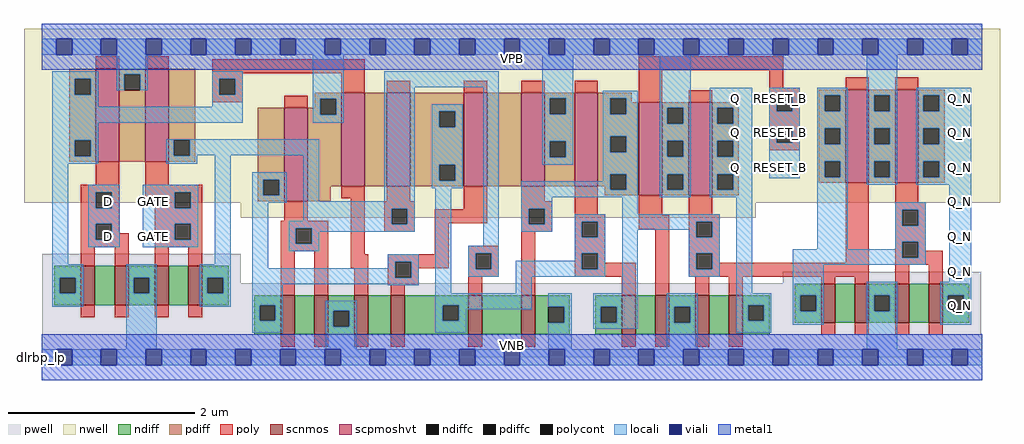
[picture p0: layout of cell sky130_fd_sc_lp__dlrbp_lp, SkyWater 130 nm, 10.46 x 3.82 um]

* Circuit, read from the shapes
.subckt sky130_fd_sc_lp__dlrbp_lp D GATE RESET_B VGND VNB VPB VPWR Q Q_N
XM1 n1 D n2 VNB sky130_fd_pr__nfet_01v8 w=0.42 l=0.15
XM2 VGND D n1 VNB sky130_fd_pr__nfet_01v8 w=0.42 l=0.15
XM3 n3 GATE VGND VNB sky130_fd_pr__nfet_01v8 w=0.42 l=0.15
XM4 n4 GATE n3 VNB sky130_fd_pr__nfet_01v8 w=0.42 l=0.15
XM5 n5 n4 n6 VNB sky130_fd_pr__nfet_01v8 w=0.42 l=0.15
XM6 VGND n4 n5 VNB sky130_fd_pr__nfet_01v8 w=0.42 l=0.15
XM7 n7 n2 VGND VNB sky130_fd_pr__nfet_01v8 w=0.42 l=0.15
XM8 n8 n6 n7 VNB sky130_fd_pr__nfet_01v8 w=0.42 l=0.15
XM9 n9 n4 n8 VNB sky130_fd_pr__nfet_01v8 w=0.42 l=0.15
XM10 VGND n10 n9 VNB sky130_fd_pr__nfet_01v8 w=0.42 l=0.15
XM11 n11 n8 n10 VNB sky130_fd_pr__nfet_01v8 w=0.42 l=0.15
XM12 VGND RESET_B n11 VNB sky130_fd_pr__nfet_01v8 w=0.42 l=0.15
XM13 n12 n10 VGND VNB sky130_fd_pr__nfet_01v8 w=0.42 l=0.15
XM14 Q n10 n12 VNB sky130_fd_pr__nfet_01v8 w=0.42 l=0.15
XM15 n13 n10 n14 VNB sky130_fd_pr__nfet_01v8 w=0.42 l=0.15
XM16 VGND n10 n13 VNB sky130_fd_pr__nfet_01v8 w=0.42 l=0.15
XM17 n15 n14 VGND VNB sky130_fd_pr__nfet_01v8 w=0.42 l=0.15
XM18 Q_N n14 n15 VNB sky130_fd_pr__nfet_01v8 w=0.42 l=0.15
XM19 VPWR D n2 VPB sky130_fd_pr__pfet_01v8_hvt w=1 l=0.25
XM20 n4 GATE VPWR VPB sky130_fd_pr__pfet_01v8_hvt w=1 l=0.25
XM21 VPWR n4 n6 VPB sky130_fd_pr__pfet_01v8_hvt w=1 l=0.25
XM22 n16 n2 VPWR VPB sky130_fd_pr__pfet_01v8_hvt w=1 l=0.25
XM23 n8 n4 n16 VPB sky130_fd_pr__pfet_01v8_hvt w=1 l=0.25
XM24 n17 n6 n8 VPB sky130_fd_pr__pfet_01v8_hvt w=1 l=0.25
XM25 VPWR n10 n17 VPB sky130_fd_pr__pfet_01v8_hvt w=1 l=0.25
XM26 n10 n8 VPWR VPB sky130_fd_pr__pfet_01v8_hvt w=1 l=0.25
XM27 VPWR RESET_B n10 VPB sky130_fd_pr__pfet_01v8_hvt w=1 l=0.25
XM28 Q n10 VPWR VPB sky130_fd_pr__pfet_01v8_hvt w=1 l=0.25
XM29 VPWR n10 n14 VPB sky130_fd_pr__pfet_01v8_hvt w=1 l=0.25
XM30 Q_N n14 VPWR VPB sky130_fd_pr__pfet_01v8_hvt w=1 l=0.25
.ends

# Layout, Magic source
magic
tech sky130A
magscale 1 2
<< nwell >>
rect -38 331 2054 704
rect 427 299 1530 331
<< pwell >>
rect 1 159 427 222
rect 1588 159 2014 184
rect 1 49 2014 159
rect 0 0 2016 49
<< scnmos >>
rect 84 112 114 196
rect 156 112 186 196
rect 242 112 272 196
rect 314 112 344 196
rect 512 49 542 133
rect 584 49 614 133
rect 670 49 700 133
rect 748 49 778 133
rect 914 49 944 133
rect 1028 49 1058 133
rect 1243 49 1273 133
rect 1315 49 1345 133
rect 1401 49 1431 133
rect 1473 49 1503 133
rect 1671 74 1701 158
rect 1743 74 1773 158
rect 1829 74 1859 158
rect 1901 74 1931 158
<< scpmoshvt >>
rect 116 419 166 619
rect 222 419 272 619
rect 520 335 570 535
rect 642 367 692 567
rect 740 367 790 567
rect 905 367 955 567
rect 1028 367 1078 567
rect 1142 367 1192 567
rect 1280 347 1330 547
rect 1387 347 1437 547
rect 1723 374 1773 574
rect 1829 374 1879 574
<< ndiff >>
rect 27 171 84 196
rect 27 137 39 171
rect 73 137 84 171
rect 27 112 84 137
rect 114 112 156 196
rect 186 171 242 196
rect 186 137 197 171
rect 231 137 242 171
rect 186 112 242 137
rect 272 112 314 196
rect 344 171 401 196
rect 344 137 355 171
rect 389 137 401 171
rect 344 112 401 137
rect 1614 133 1671 158
rect 455 112 512 133
rect 455 78 467 112
rect 501 78 512 112
rect 455 49 512 78
rect 542 49 584 133
rect 614 100 670 133
rect 614 66 625 100
rect 659 66 670 100
rect 614 49 670 66
rect 700 49 748 133
rect 778 112 914 133
rect 778 78 860 112
rect 894 78 914 112
rect 778 49 914 78
rect 944 49 1028 133
rect 1058 108 1132 133
rect 1058 74 1086 108
rect 1120 74 1132 108
rect 1058 49 1132 74
rect 1186 108 1243 133
rect 1186 74 1198 108
rect 1232 74 1243 108
rect 1186 49 1243 74
rect 1273 49 1315 133
rect 1345 108 1401 133
rect 1345 74 1356 108
rect 1390 74 1401 108
rect 1345 49 1401 74
rect 1431 49 1473 133
rect 1503 112 1560 133
rect 1503 78 1514 112
rect 1548 78 1560 112
rect 1503 49 1560 78
rect 1614 99 1626 133
rect 1660 99 1671 133
rect 1614 74 1671 99
rect 1701 74 1743 158
rect 1773 133 1829 158
rect 1773 99 1784 133
rect 1818 99 1829 133
rect 1773 74 1829 99
rect 1859 74 1901 158
rect 1931 133 1988 158
rect 1931 99 1942 133
rect 1976 99 1988 133
rect 1931 74 1988 99
<< pdiff >>
rect 59 597 116 619
rect 59 563 71 597
rect 105 563 116 597
rect 59 465 116 563
rect 59 431 71 465
rect 105 431 116 465
rect 59 419 116 431
rect 166 607 222 619
rect 166 573 177 607
rect 211 573 222 607
rect 166 419 222 573
rect 272 466 329 619
rect 585 554 642 567
rect 585 535 597 554
rect 272 432 283 466
rect 317 432 329 466
rect 272 419 329 432
rect 463 381 520 535
rect 463 347 475 381
rect 509 347 520 381
rect 463 335 520 347
rect 570 520 597 535
rect 631 520 642 554
rect 570 367 642 520
rect 692 367 740 567
rect 790 527 905 567
rect 790 493 852 527
rect 886 493 905 527
rect 790 413 905 493
rect 790 379 852 413
rect 886 379 905 413
rect 790 367 905 379
rect 955 367 1028 567
rect 1078 555 1142 567
rect 1078 521 1089 555
rect 1123 521 1142 555
rect 1078 463 1142 521
rect 1078 429 1089 463
rect 1123 429 1142 463
rect 1078 367 1142 429
rect 1192 555 1265 567
rect 1192 521 1219 555
rect 1253 547 1265 555
rect 1253 521 1280 547
rect 1192 474 1280 521
rect 1192 440 1219 474
rect 1253 440 1280 474
rect 1192 393 1280 440
rect 1192 367 1219 393
rect 570 335 620 367
rect 1207 359 1219 367
rect 1253 359 1280 393
rect 1207 347 1280 359
rect 1330 535 1387 547
rect 1330 501 1341 535
rect 1375 501 1387 535
rect 1330 464 1387 501
rect 1330 430 1341 464
rect 1375 430 1387 464
rect 1330 393 1387 430
rect 1330 359 1341 393
rect 1375 359 1387 393
rect 1330 347 1387 359
rect 1437 535 1494 547
rect 1437 501 1448 535
rect 1482 501 1494 535
rect 1437 464 1494 501
rect 1437 430 1448 464
rect 1482 430 1494 464
rect 1666 562 1723 574
rect 1666 528 1678 562
rect 1712 528 1723 562
rect 1666 491 1723 528
rect 1666 457 1678 491
rect 1712 457 1723 491
rect 1437 393 1494 430
rect 1437 359 1448 393
rect 1482 359 1494 393
rect 1666 420 1723 457
rect 1666 386 1678 420
rect 1712 386 1723 420
rect 1666 374 1723 386
rect 1773 562 1829 574
rect 1773 528 1784 562
rect 1818 528 1829 562
rect 1773 491 1829 528
rect 1773 457 1784 491
rect 1818 457 1829 491
rect 1773 420 1829 457
rect 1773 386 1784 420
rect 1818 386 1829 420
rect 1773 374 1829 386
rect 1879 562 1936 574
rect 1879 528 1890 562
rect 1924 528 1936 562
rect 1879 491 1936 528
rect 1879 457 1890 491
rect 1924 457 1936 491
rect 1879 420 1936 457
rect 1879 386 1890 420
rect 1924 386 1936 420
rect 1879 374 1936 386
rect 1437 347 1494 359
<< ndiffc >>
rect 39 137 73 171
rect 197 137 231 171
rect 355 137 389 171
rect 467 78 501 112
rect 625 66 659 100
rect 860 78 894 112
rect 1086 74 1120 108
rect 1198 74 1232 108
rect 1356 74 1390 108
rect 1514 78 1548 112
rect 1626 99 1660 133
rect 1784 99 1818 133
rect 1942 99 1976 133
<< pdiffc >>
rect 71 563 105 597
rect 71 431 105 465
rect 177 573 211 607
rect 283 432 317 466
rect 475 347 509 381
rect 597 520 631 554
rect 852 493 886 527
rect 852 379 886 413
rect 1089 521 1123 555
rect 1089 429 1123 463
rect 1219 521 1253 555
rect 1219 440 1253 474
rect 1219 359 1253 393
rect 1341 501 1375 535
rect 1341 430 1375 464
rect 1341 359 1375 393
rect 1448 501 1482 535
rect 1448 430 1482 464
rect 1678 528 1712 562
rect 1678 457 1712 491
rect 1448 359 1482 393
rect 1678 386 1712 420
rect 1784 528 1818 562
rect 1784 457 1818 491
rect 1784 386 1818 420
rect 1890 528 1924 562
rect 1890 457 1924 491
rect 1890 386 1924 420
<< poly >>
rect 116 619 166 645
rect 222 619 272 645
rect 365 609 692 639
rect 365 597 431 609
rect 365 563 381 597
rect 415 563 431 597
rect 642 567 692 609
rect 1280 615 1589 645
rect 740 567 790 593
rect 905 567 955 593
rect 1028 567 1078 593
rect 1142 567 1192 593
rect 365 547 431 563
rect 520 535 570 561
rect 116 370 166 419
rect 84 354 166 370
rect 84 320 116 354
rect 150 320 166 354
rect 222 370 272 419
rect 222 354 344 370
rect 222 340 285 354
rect 84 286 166 320
rect 84 252 116 286
rect 150 266 166 286
rect 242 320 285 340
rect 319 320 344 354
rect 1280 547 1330 615
rect 1559 578 1589 615
rect 1387 547 1437 573
rect 1559 562 1625 578
rect 1723 574 1773 600
rect 1829 574 1879 600
rect 642 341 692 367
rect 242 286 344 320
rect 520 293 570 335
rect 150 252 186 266
rect 84 236 186 252
rect 84 196 114 236
rect 156 196 186 236
rect 242 252 285 286
rect 319 252 344 286
rect 242 236 344 252
rect 242 196 272 236
rect 314 196 344 236
rect 512 277 614 293
rect 512 243 545 277
rect 579 243 614 277
rect 512 227 614 243
rect 512 133 542 227
rect 584 133 614 227
rect 662 221 692 341
rect 740 335 790 367
rect 734 319 800 335
rect 734 285 750 319
rect 784 285 800 319
rect 905 317 955 367
rect 734 269 800 285
rect 842 287 955 317
rect 1028 335 1078 367
rect 1028 319 1094 335
rect 842 221 872 287
rect 1028 285 1044 319
rect 1078 285 1094 319
rect 1028 269 1094 285
rect 1142 307 1192 367
rect 1559 528 1575 562
rect 1609 528 1625 562
rect 1559 494 1625 528
rect 1559 460 1575 494
rect 1609 460 1625 494
rect 1559 444 1625 460
rect 1142 291 1208 307
rect 662 191 700 221
rect 670 133 700 191
rect 742 205 872 221
rect 742 171 758 205
rect 792 191 872 205
rect 914 223 980 239
rect 792 171 808 191
rect 742 155 808 171
rect 914 189 930 223
rect 964 189 980 223
rect 914 173 980 189
rect 748 133 778 155
rect 914 133 944 173
rect 1028 133 1058 269
rect 1142 257 1158 291
rect 1192 257 1208 291
rect 1280 305 1330 347
rect 1387 307 1437 347
rect 1280 275 1345 305
rect 1142 223 1208 257
rect 1142 189 1158 223
rect 1192 203 1208 223
rect 1192 189 1273 203
rect 1142 173 1273 189
rect 1243 133 1273 173
rect 1315 133 1345 275
rect 1387 291 1453 307
rect 1387 257 1403 291
rect 1437 257 1453 291
rect 1387 223 1453 257
rect 1387 189 1403 223
rect 1437 203 1453 223
rect 1723 203 1773 374
rect 1437 189 1773 203
rect 1387 173 1773 189
rect 1401 133 1431 173
rect 1473 133 1503 173
rect 1671 158 1701 173
rect 1743 158 1773 173
rect 1829 332 1879 374
rect 1829 316 1895 332
rect 1829 282 1845 316
rect 1879 282 1895 316
rect 1829 248 1895 282
rect 1829 214 1845 248
rect 1879 228 1895 248
rect 1879 214 1931 228
rect 1829 198 1931 214
rect 1829 158 1859 198
rect 1901 158 1931 198
rect 84 86 114 112
rect 156 86 186 112
rect 242 86 272 112
rect 314 86 344 112
rect 512 23 542 49
rect 584 23 614 49
rect 670 23 700 49
rect 748 23 778 49
rect 914 23 944 49
rect 1028 23 1058 49
rect 1243 23 1273 49
rect 1315 23 1345 49
rect 1401 23 1431 49
rect 1473 23 1503 49
rect 1671 48 1701 74
rect 1743 48 1773 74
rect 1829 48 1859 74
rect 1901 48 1931 74
<< polycont >>
rect 381 563 415 597
rect 116 320 150 354
rect 116 252 150 286
rect 285 320 319 354
rect 285 252 319 286
rect 545 243 579 277
rect 750 285 784 319
rect 1044 285 1078 319
rect 1575 528 1609 562
rect 1575 460 1609 494
rect 758 171 792 205
rect 930 189 964 223
rect 1158 257 1192 291
rect 1158 189 1192 223
rect 1403 257 1437 291
rect 1403 189 1437 223
rect 1845 282 1879 316
rect 1845 214 1879 248
<< locali >>
rect 0 649 31 683
rect 65 649 127 683
rect 161 649 223 683
rect 257 649 319 683
rect 353 649 415 683
rect 449 649 511 683
rect 545 649 607 683
rect 641 649 703 683
rect 737 649 799 683
rect 833 649 895 683
rect 929 649 991 683
rect 1025 649 1087 683
rect 1121 649 1183 683
rect 1217 649 1279 683
rect 1313 649 1375 683
rect 1409 649 1471 683
rect 1505 649 1567 683
rect 1601 649 1663 683
rect 1697 649 1759 683
rect 1793 649 1855 683
rect 1889 649 1951 683
rect 1985 649 2016 683
rect 23 597 121 613
rect 23 563 71 597
rect 105 563 121 597
rect 161 607 227 649
rect 161 573 177 607
rect 211 573 227 607
rect 365 597 431 613
rect 23 537 121 563
rect 365 563 381 597
rect 415 563 431 597
rect 365 537 431 563
rect 23 503 431 537
rect 581 554 647 649
rect 581 520 597 554
rect 631 520 647 554
rect 581 503 647 520
rect 734 579 980 613
rect 23 465 121 503
rect 23 431 71 465
rect 105 431 121 465
rect 23 415 121 431
rect 267 466 595 467
rect 267 432 283 466
rect 317 433 595 466
rect 317 432 333 433
rect 267 415 333 432
rect 23 200 57 415
rect 100 354 167 370
rect 100 320 116 354
rect 150 320 167 354
rect 100 286 167 320
rect 100 252 116 286
rect 150 252 167 286
rect 100 236 167 252
rect 217 354 335 370
rect 217 320 285 354
rect 319 320 335 354
rect 217 286 335 320
rect 217 252 285 286
rect 319 252 335 286
rect 217 236 335 252
rect 371 200 405 433
rect 23 171 89 200
rect 23 137 39 171
rect 73 137 89 171
rect 23 108 89 137
rect 181 171 247 200
rect 181 137 197 171
rect 231 137 247 171
rect 181 17 247 137
rect 339 171 405 200
rect 339 137 355 171
rect 389 137 405 171
rect 339 108 405 137
rect 451 381 525 397
rect 451 347 475 381
rect 509 347 525 381
rect 451 331 525 347
rect 561 335 595 433
rect 734 335 800 579
rect 836 527 902 543
rect 836 493 852 527
rect 886 493 902 527
rect 836 413 902 493
rect 836 379 852 413
rect 886 379 902 413
rect 836 363 902 379
rect 451 191 485 331
rect 561 319 800 335
rect 561 293 750 319
rect 529 285 750 293
rect 784 285 800 319
rect 529 277 800 285
rect 529 243 545 277
rect 579 269 800 277
rect 579 243 595 269
rect 529 227 595 243
rect 742 205 808 221
rect 742 191 758 205
rect 451 171 758 191
rect 792 171 808 205
rect 451 157 808 171
rect 451 112 517 157
rect 742 155 808 157
rect 844 137 878 363
rect 946 239 980 579
rect 1073 555 1139 649
rect 1073 521 1089 555
rect 1123 521 1139 555
rect 1073 463 1139 521
rect 1073 429 1089 463
rect 1123 429 1139 463
rect 1073 413 1139 429
rect 1203 555 1278 571
rect 1203 521 1219 555
rect 1253 521 1278 555
rect 1203 474 1278 521
rect 1203 440 1219 474
rect 1253 440 1278 474
rect 1203 393 1278 440
rect 1203 377 1219 393
rect 1028 359 1219 377
rect 1253 359 1278 393
rect 1028 343 1278 359
rect 1325 535 1391 649
rect 1325 501 1341 535
rect 1375 501 1391 535
rect 1325 464 1391 501
rect 1325 430 1341 464
rect 1375 430 1391 464
rect 1325 393 1391 430
rect 1325 359 1341 393
rect 1375 359 1391 393
rect 1325 343 1391 359
rect 1432 535 1523 578
rect 1432 501 1448 535
rect 1482 501 1523 535
rect 1432 464 1523 501
rect 1432 430 1448 464
rect 1482 430 1523 464
rect 1432 393 1523 430
rect 1432 359 1448 393
rect 1482 359 1523 393
rect 1559 562 1625 578
rect 1559 528 1575 562
rect 1609 528 1625 562
rect 1559 494 1625 528
rect 1559 460 1575 494
rect 1609 460 1625 494
rect 1559 384 1625 460
rect 1662 562 1728 578
rect 1662 528 1678 562
rect 1712 528 1728 562
rect 1662 491 1728 528
rect 1662 457 1678 491
rect 1712 457 1728 491
rect 1662 420 1728 457
rect 1662 386 1678 420
rect 1712 386 1728 420
rect 1432 343 1523 359
rect 1028 319 1094 343
rect 1028 285 1044 319
rect 1078 285 1094 319
rect 1244 307 1278 343
rect 1028 269 1094 285
rect 1142 291 1208 307
rect 914 223 980 239
rect 914 189 930 223
rect 964 189 980 223
rect 1142 257 1158 291
rect 1192 257 1208 291
rect 1142 223 1208 257
rect 1142 207 1158 223
rect 914 173 980 189
rect 1016 189 1158 207
rect 1192 189 1208 223
rect 1016 173 1208 189
rect 1244 291 1453 307
rect 1244 273 1403 291
rect 1016 137 1050 173
rect 1244 137 1278 273
rect 1387 257 1403 273
rect 1437 257 1453 291
rect 1387 223 1453 257
rect 1387 189 1403 223
rect 1437 189 1453 223
rect 1387 173 1453 189
rect 1489 137 1523 343
rect 1662 232 1728 386
rect 1768 562 1834 649
rect 1768 528 1784 562
rect 1818 528 1834 562
rect 1768 491 1834 528
rect 1768 457 1784 491
rect 1818 457 1834 491
rect 1768 420 1834 457
rect 1768 386 1784 420
rect 1818 386 1834 420
rect 1768 370 1834 386
rect 1874 562 1992 578
rect 1874 528 1890 562
rect 1924 528 1992 562
rect 1874 491 1992 528
rect 1874 457 1890 491
rect 1924 457 1992 491
rect 1874 420 1992 457
rect 1874 386 1890 420
rect 1924 386 1992 420
rect 1874 370 1992 386
rect 1829 316 1895 332
rect 1829 282 1845 316
rect 1879 282 1895 316
rect 1829 248 1895 282
rect 1829 232 1845 248
rect 1610 214 1845 232
rect 1879 214 1895 248
rect 1610 198 1895 214
rect 451 78 467 112
rect 501 78 517 112
rect 451 53 517 78
rect 609 100 675 121
rect 609 66 625 100
rect 659 66 675 100
rect 609 17 675 66
rect 844 112 1050 137
rect 844 78 860 112
rect 894 103 1050 112
rect 1086 108 1136 137
rect 894 78 910 103
rect 844 53 910 78
rect 1120 74 1136 108
rect 1086 17 1136 74
rect 1182 108 1278 137
rect 1182 74 1198 108
rect 1232 74 1278 108
rect 1182 61 1278 74
rect 1340 108 1406 137
rect 1340 74 1356 108
rect 1390 74 1406 108
rect 1340 17 1406 74
rect 1489 112 1564 137
rect 1489 78 1514 112
rect 1548 78 1564 112
rect 1489 53 1564 78
rect 1610 133 1676 198
rect 1945 162 1992 370
rect 1610 99 1626 133
rect 1660 99 1676 133
rect 1610 70 1676 99
rect 1768 133 1834 162
rect 1768 99 1784 133
rect 1818 99 1834 133
rect 1768 17 1834 99
rect 1926 133 1992 162
rect 1926 99 1942 133
rect 1976 99 1992 133
rect 1926 70 1992 99
rect 0 -17 31 17
rect 65 -17 127 17
rect 161 -17 223 17
rect 257 -17 319 17
rect 353 -17 415 17
rect 449 -17 511 17
rect 545 -17 607 17
rect 641 -17 703 17
rect 737 -17 799 17
rect 833 -17 895 17
rect 929 -17 991 17
rect 1025 -17 1087 17
rect 1121 -17 1183 17
rect 1217 -17 1279 17
rect 1313 -17 1375 17
rect 1409 -17 1471 17
rect 1505 -17 1567 17
rect 1601 -17 1663 17
rect 1697 -17 1759 17
rect 1793 -17 1855 17
rect 1889 -17 1951 17
rect 1985 -17 2016 17
<< viali >>
rect 31 649 65 683
rect 127 649 161 683
rect 223 649 257 683
rect 319 649 353 683
rect 415 649 449 683
rect 511 649 545 683
rect 607 649 641 683
rect 703 649 737 683
rect 799 649 833 683
rect 895 649 929 683
rect 991 649 1025 683
rect 1087 649 1121 683
rect 1183 649 1217 683
rect 1279 649 1313 683
rect 1375 649 1409 683
rect 1471 649 1505 683
rect 1567 649 1601 683
rect 1663 649 1697 683
rect 1759 649 1793 683
rect 1855 649 1889 683
rect 1951 649 1985 683
rect 31 -17 65 17
rect 127 -17 161 17
rect 223 -17 257 17
rect 319 -17 353 17
rect 415 -17 449 17
rect 511 -17 545 17
rect 607 -17 641 17
rect 703 -17 737 17
rect 799 -17 833 17
rect 895 -17 929 17
rect 991 -17 1025 17
rect 1087 -17 1121 17
rect 1183 -17 1217 17
rect 1279 -17 1313 17
rect 1375 -17 1409 17
rect 1471 -17 1505 17
rect 1567 -17 1601 17
rect 1663 -17 1697 17
rect 1759 -17 1793 17
rect 1855 -17 1889 17
rect 1951 -17 1985 17
<< metal1 >>
rect 0 683 2016 715
rect 0 649 31 683
rect 65 649 127 683
rect 161 649 223 683
rect 257 649 319 683
rect 353 649 415 683
rect 449 649 511 683
rect 545 649 607 683
rect 641 649 703 683
rect 737 649 799 683
rect 833 649 895 683
rect 929 649 991 683
rect 1025 649 1087 683
rect 1121 649 1183 683
rect 1217 649 1279 683
rect 1313 649 1375 683
rect 1409 649 1471 683
rect 1505 649 1567 683
rect 1601 649 1663 683
rect 1697 649 1759 683
rect 1793 649 1855 683
rect 1889 649 1951 683
rect 1985 649 2016 683
rect 0 617 2016 649
rect 0 17 2016 49
rect 0 -17 31 17
rect 65 -17 127 17
rect 161 -17 223 17
rect 257 -17 319 17
rect 353 -17 415 17
rect 449 -17 511 17
rect 545 -17 607 17
rect 641 -17 703 17
rect 737 -17 799 17
rect 833 -17 895 17
rect 929 -17 991 17
rect 1025 -17 1087 17
rect 1121 -17 1183 17
rect 1217 -17 1279 17
rect 1313 -17 1375 17
rect 1409 -17 1471 17
rect 1505 -17 1567 17
rect 1601 -17 1663 17
rect 1697 -17 1759 17
rect 1793 -17 1855 17
rect 1889 -17 1951 17
rect 1985 -17 2016 17
rect 0 -49 2016 -17
<< labels >>
flabel pwell s 0 0 2016 49 0 FreeSans 200 0 0 0 VNB
port 5 nsew ground bidirectional
flabel nwell s 0 617 2016 666 0 FreeSans 200 0 0 0 VPB
port 6 nsew power bidirectional
rlabel comment s 0 0 0 0 4 dlrbp_lp
flabel metal1 s 0 617 2016 666 0 FreeSans 340 0 0 0 VPWR
port 7 nsew power bidirectional
flabel metal1 s 0 0 2016 49 0 FreeSans 340 0 0 0 VGND
port 4 nsew ground bidirectional
flabel locali s 127 242 161 276 0 FreeSans 340 0 0 0 D
port 1 nsew signal input
flabel locali s 127 316 161 350 0 FreeSans 340 0 0 0 D
port 1 nsew signal input
flabel locali s 1567 390 1601 424 0 FreeSans 340 0 0 0 RESET_B
port 3 nsew signal input
flabel locali s 1567 464 1601 498 0 FreeSans 340 0 0 0 RESET_B
port 3 nsew signal input
flabel locali s 1567 538 1601 572 0 FreeSans 340 0 0 0 RESET_B
port 3 nsew signal input
flabel locali s 223 242 257 276 0 FreeSans 340 0 0 0 GATE
port 2 nsew clock input
flabel locali s 223 316 257 350 0 FreeSans 340 0 0 0 GATE
port 2 nsew clock input
flabel locali s 1471 390 1505 424 0 FreeSans 340 0 0 0 Q
port 8 nsew signal output
flabel locali s 1471 464 1505 498 0 FreeSans 340 0 0 0 Q
port 8 nsew signal output
flabel locali s 1471 538 1505 572 0 FreeSans 340 0 0 0 Q
port 8 nsew signal output
flabel locali s 1951 94 1985 128 0 FreeSans 340 0 0 0 Q_N
port 9 nsew signal output
flabel locali s 1951 168 1985 202 0 FreeSans 340 0 0 0 Q_N
port 9 nsew signal output
flabel locali s 1951 242 1985 276 0 FreeSans 340 0 0 0 Q_N
port 9 nsew signal output
flabel locali s 1951 316 1985 350 0 FreeSans 340 0 0 0 Q_N
port 9 nsew signal output
flabel locali s 1951 390 1985 424 0 FreeSans 340 0 0 0 Q_N
port 9 nsew signal output
flabel locali s 1951 464 1985 498 0 FreeSans 340 0 0 0 Q_N
port 9 nsew signal output
flabel locali s 1951 538 1985 572 0 FreeSans 340 0 0 0 Q_N
port 9 nsew signal output
<< properties >>
string LEFsite unit
string LEFclass CORE
string FIXED_BBOX 0 0 2016 666
string GDS_FILE $PDKPATH/libs.ref/sky130_fd_sc_lp/gds/sky130_fd_sc_lp.gds
string LEFsymmetry X Y R90
string GDS_END 4320518
string GDS_START 4305862
<< end >>
